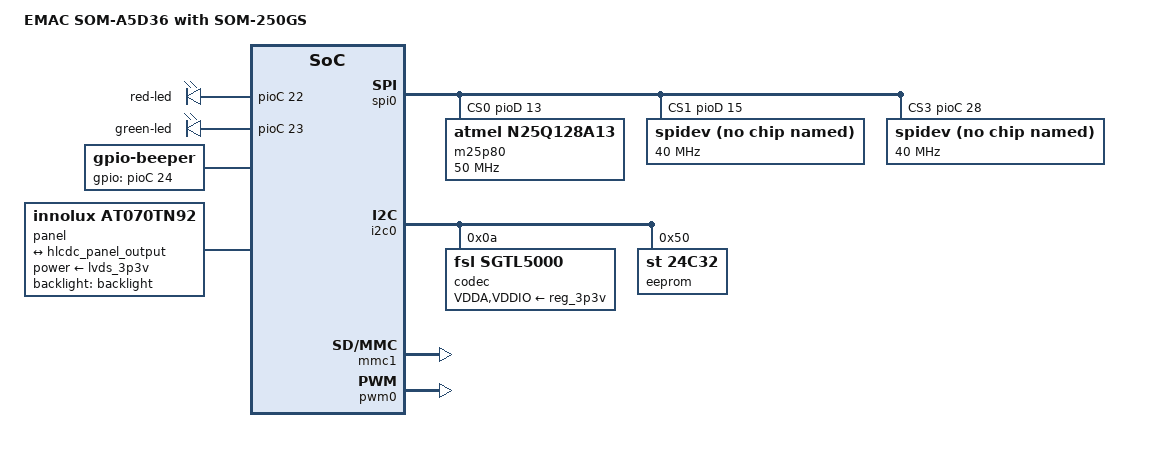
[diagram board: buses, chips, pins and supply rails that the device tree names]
/*
 * som-a5d36-250gs.dts - Device Tree file for the SoM-A5D36 / 250GS.
 *
 * Copyright (C) 2018 EMAC Inc.
 *
 * Licensed under GPLv2 or later.
 */
/dts-v1/;

#include "som-a5d36.dtsi"

/ {
	model = "EMAC SOM-A5D36 with SOM-250GS";
	
	ahb {
		apb {
			spi0: spi@f0004000 {
				cs-gpios = <&pioD 13 0>, <&pioD 15 0>, <0>, <&pioC 28 0>;
				status = "okay";
				m25p80@0 {
					compatible = "atmel,n25q128a13";
					spi-max-frequency = <50000000>;
					reg = <0>;
				};

				spidev@1 {
					compatible = "emac,spidev";
					spi-max-frequency = <40000000>;
					reg = <1>;
					status = "okay";
				};

				spidev@3 {
					compatible = "emac,spidev";
					spi-max-frequency = <40000000>;
					spi-cpol;
					reg = <3>;
					status = "okay";
				};
			};

			i2c0: i2c@f0014000 {
				status = "okay";

				codec: sgtl5000@0a {
					#sound-dai-cells = <0>;
					compatible = "fsl,sgtl5000";
					reg = <0x0a>;
					VDDA-supply = <&reg_3p3v>;
					VDDIO-supply = <&reg_3p3v>;
					clocks = <&audio_mclk>;
				};

				eeprom@50 {
					compatible = "st,24c32";
					reg = <0x50>;
					pagesize = <32>;
				};
			};



			pinctrl@fffff200 {
				mmc1 {
					pinctrl_mmc1_cd: mmc1_cd {
						atmel,pins =
							<AT91_PIOC 5 AT91_PERIPH_GPIO AT91_PINCTRL_PULL_UP_DEGLITCH>;
					};
				};

				led {
					pinctrl_led: led-board {
						atmel,pins =
							<AT91_PIOE 22 AT91_PERIPH_GPIO AT91_PINCTRL_NONE
							AT91_PIOC 22 AT91_PERIPH_GPIO AT91_PINCTRL_NONE
							AT91_PIOC 23 AT91_PERIPH_GPIO AT91_PINCTRL_NONE>;
					};
				};

				lcd {
					pinctrl_lcd_alt: lcd_alt-0 {
						atmel,pins =
							<AT91_PIOA 0 AT91_PERIPH_A AT91_PINCTRL_NONE	/* PA0 periph A LCDD0 pin */
							 AT91_PIOA 1 AT91_PERIPH_A AT91_PINCTRL_NONE	/* PA1 periph A LCDD1 pin */
							 AT91_PIOA 2 AT91_PERIPH_A AT91_PINCTRL_NONE	/* PA2 periph A LCDD2 pin */
							 AT91_PIOA 3 AT91_PERIPH_A AT91_PINCTRL_NONE	/* PA3 periph A LCDD3 pin */
							 AT91_PIOA 4 AT91_PERIPH_A AT91_PINCTRL_NONE	/* PA4 periph A LCDD4 pin */
							 AT91_PIOA 5 AT91_PERIPH_A AT91_PINCTRL_NONE	/* PA5 periph A LCDD5 pin */
							 AT91_PIOA 6 AT91_PERIPH_A AT91_PINCTRL_NONE	/* PA6 periph A LCDD6 pin */
							 AT91_PIOA 7 AT91_PERIPH_A AT91_PINCTRL_NONE	/* PA7 periph A LCDD7 pin */
							 AT91_PIOA 8 AT91_PERIPH_A AT91_PINCTRL_NONE	/* PA8 periph A LCDD8 pin */
							 AT91_PIOA 9 AT91_PERIPH_A AT91_PINCTRL_NONE	/* PA9 periph A LCDD9 pin */
							 AT91_PIOA 10 AT91_PERIPH_A AT91_PINCTRL_NONE	/* PA10 periph A LCDD10 pin */
							 AT91_PIOA 11 AT91_PERIPH_A AT91_PINCTRL_NONE	/* PA11 periph A LCDD11 pin */
							 AT91_PIOA 12 AT91_PERIPH_A AT91_PINCTRL_NONE	/* PA12 periph A LCDD12 pin */
							 AT91_PIOA 13 AT91_PERIPH_A AT91_PINCTRL_NONE	/* PA13 periph A LCDD13 pin */
							 AT91_PIOA 14 AT91_PERIPH_A AT91_PINCTRL_NONE	/* PA14 periph A LCDD14 pin */
							 AT91_PIOA 15 AT91_PERIPH_A AT91_PINCTRL_NONE	/* PA15 periph A LCDD15 pin */
							 AT91_PIOA 16 AT91_PERIPH_A AT91_PINCTRL_NONE	/* PA16 periph A LCDD16 pin */
							 AT91_PIOA 17 AT91_PERIPH_A AT91_PINCTRL_NONE	/* PA17 periph A LCDD17 pin */
							 AT91_PIOA 18 AT91_PERIPH_A AT91_PINCTRL_NONE	/* PA18 periph A LCDD18 pin */
							 AT91_PIOA 19 AT91_PERIPH_A AT91_PINCTRL_NONE	/* PA19 periph A LCDD19 pin */
							 AT91_PIOA 20 AT91_PERIPH_A AT91_PINCTRL_NONE	/* PA20 periph A LCDD20 pin */
							 AT91_PIOA 21 AT91_PERIPH_A AT91_PINCTRL_NONE	/* PA21 periph A LCDD21 pin */
							 AT91_PIOA 22 AT91_PERIPH_A AT91_PINCTRL_NONE	/* PA22 periph A LCDD22 pin */
							 AT91_PIOA 23 AT91_PERIPH_A AT91_PINCTRL_NONE>;	/* PA23 periph A LCDD23 pin */
					};
				};
			};

			mmc1: mmc@f8000000 {
				pinctrl-names = "default";
				pinctrl-0 = <&pinctrl_mmc1_clk_cmd_dat0 &pinctrl_mmc1_dat1_3 &pinctrl_mmc1_cd>;
				status = "okay";
				slot@0 {
					reg = <0>;
					bus-width = <4>;
				};
			};

			pwm0: pwm@f002c000 {
				pinctrl-names = "default";
				pinctrl-0 = <&pinctrl_pwm0_pwmh3_1>;
				status = "okay";
			};
		};


	};

	gpio-leds {
		compatible = "gpio-leds";
		pinctrl-names = "default";
		pinctrl-0 = <&pinctrl_led>;

		red-led {
			label = "red-led";
			gpios = <&pioC 22 GPIO_ACTIVE_HIGH>;
			default-state = "on";
		};
		green-led {
			label = "green-led";
			gpios = <&pioC 23 GPIO_ACTIVE_HIGH>;
			default-state = "on";
		};
	};

	beeper {
		compatible = "gpio-beeper";
		gpios = <&pioC 24 GPIO_ACTIVE_HIGH>;
		status = "okay";
	};

	sound {
		compatible = "simple-audio-card";
		simple-audio-card,format = "i2s";
		simple-audio-card,name = "som-250gs sgtl5000";
		simple-audio-card,widgets =
			"Microphone", "Microphone Jack",
			"Headphone", "Headphone Jack",
			"Speaker", "Speaker Ext",
			"Line", "Line In Jack";
		simple-audio-card,routing =
			"MIC_IN", "Microphone Jack",
			"Microphone Jack", "Mic Bias",
			"LINE_IN", "Line In Jack",
			"Headphone Jack", "HP_OUT",
			"Speaker Ext", "LINE_OUT";

		simple-audio-card,cpu {
			sound-dai = <&ssc0>;
		};

		sound_master: simple-audio-card,codec {
			sound-dai = <&codec>;
			clocks = <&audio_mclk>;
			frame-master;
			bitclock-master;
		};
	};

	panel: panel {
		compatible = "innolux,at070tn92", "simple-panel";
		backlight = <&backlight>;
		power-supply = <&lvds_3p3v>;
		#address-cells = <1>;
		#size-cells = <0>;
		status = "okay";

		port@0 {
			#address-cells = <1>;
			#size-cells = <0>;

			panel_input: endpoint@0 {
				reg = <0>;
				remote-endpoint = <&hlcdc_panel_output>;
			};
		};
	};
};

